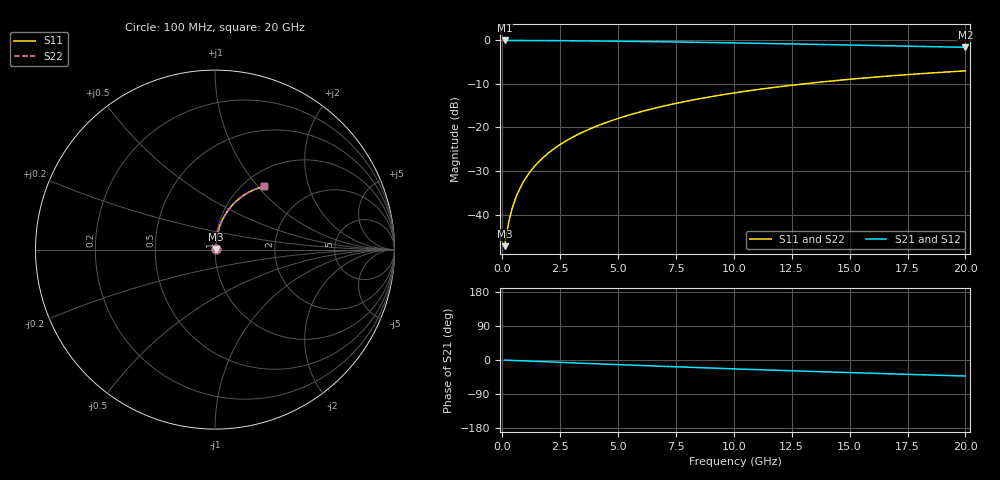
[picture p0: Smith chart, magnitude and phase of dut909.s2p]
! Touchstone file exported from HFSS 2024.1.0
!  File:  C:/UserFiles/LocalFiles/RDL_TSV_Batchsim/temp_RDL_bottom_909_1779940375.aedt
!  Generated:  11:55:43 AM May 28, 2026
!  Design:  RDL_bottom
!  Project:  temp_RDL_bottom_909_1779940375
!  Setup:  Setup1
!  Solution:  Sweep
! Variables:
!  dtsv = 10.80580581um
!  hbump = 3um
!  htsv = 87.32um
!  ldown = 552.06um
!  lrdl = 100um
!  p = 40
!  p1 = 51.88um
!  rhole = 1um
!  t = 450um
!  tdown = 3.81um
!  trdl = 3.915915916um
!  wdown = 15.46um
!  wrdl = 20um
# GHz S MA R 50.000000
! Terminal data exported
! Port[1] = RDL1_T1
! Port[2] = RDL1_T2
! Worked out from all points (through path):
!   200 points, 100 MHz to 20 GHz, reference 50 ohm
!   highest |S21| = -0.03 dB at 100 MHz (marker M1); lowest = -1.6 dB at 20 GHz (marker M2)
!   group delay of S21, straight-line fit = 5.85 ps
!   lowest |S11| = -47.2 dB at 100 MHz (marker M3), VSWR 1.01, Z = 50.3 + j0.269 ohm
!   |S11| at or under -10 dB: start of sweep to 13.01 GHz
!   |S22| runs from -47.2 to -7.0 dB; largest |S21 - S12| = 3.3e-15
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0.1  0.004352 37.9  0.9966 -0.3  0.9966 -0.3  0.004352 37.9
! Gamma 0 0 0 0
! Port Impedance 50 0 50 0
0.2  0.006379 56.3  0.9965 -0.5  0.9965 -0.5  0.006379 56.3
0.3  0.008713 65.1  0.9963 -0.8  0.9963 -0.8  0.008713 65.1
0.4  0.01113 69.9  0.9962 -1.0  0.9962 -1.0  0.01113 69.9
0.5  0.01358 73.0  0.996 -1.3  0.996 -1.3  0.01358 73.0
0.6  0.01605 75.1  0.9959 -1.5  0.9959 -1.5  0.01605 75.1
0.8  0.021 77.8  0.9956 -2.0  0.9956 -2.0  0.021 77.8
1.1  0.02849 80.0  0.995 -2.8  0.995 -2.8  0.02849 80.0
1.5  0.03854 81.3  0.9941 -3.8  0.9941 -3.8  0.03854 81.3
1.8  0.0461 81.7  0.9933 -4.5  0.9933 -4.5  0.0461 81.7
2.1  0.05368 81.9  0.9923 -5.2  0.9923 -5.2  0.05368 81.9
2.7  0.06886 81.7  0.9901 -6.7  0.9901 -6.7  0.06886 81.7
3.5  0.0891 81.0  0.9863 -8.7  0.9863 -8.7  0.0891 81.0
4.2  0.1068 80.1  0.9823 -10.4  0.9823 -10.4  0.1068 80.1
5  0.127 78.9  0.9771 -12.2  0.9771 -12.2  0.127 78.9
5.9  0.1495 77.5  0.9706 -14.3  0.9706 -14.3  0.1495 77.5
6.8  0.1719 75.9  0.9635 -16.4  0.9635 -16.4  0.1719 75.9
8.4  0.211 73.0  0.9497 -19.9  0.9497 -19.9  0.211 73.0
10.1  0.2513 69.9  0.9337 -23.6  0.9337 -23.6  0.2513 69.9
13.4  0.3245 63.7  0.9005 -30.2  0.9005 -30.2  0.3245 63.7
16.7  0.3898 57.7  0.8659 -36.4  0.8659 -36.4  0.3898 57.7
20  0.4464 52.1  0.8313 -42.2  0.8313 -42.2  0.4464 52.1
